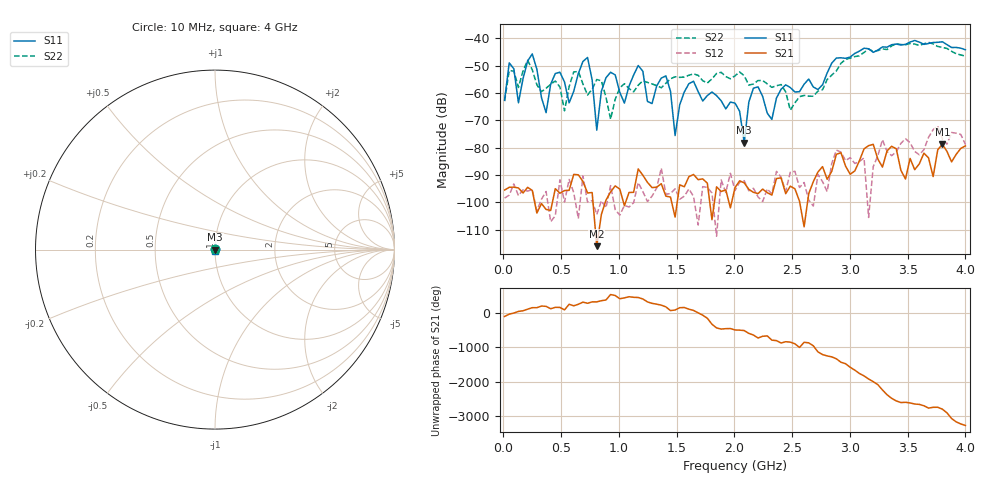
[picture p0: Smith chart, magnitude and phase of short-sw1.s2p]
! PocketVna 1.81  pocketvna.com
! Live measurements ((Reflection-S11, Transmission-S21, Transmission-S12, Reflection-S22) Linear 10000000-4000000000/101 non-calibrated)
# GHz S MA R 50
! GHz  |S11|  <S11  |S21|  <S21  |S12|  <S12  |S22|  <S22
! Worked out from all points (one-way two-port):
!   101 points, 10 MHz to 4 GHz, reference 50 ohm
!   highest |S21| = -78.75 dB at 3.8 GHz (marker M1); lowest = -116.0 dB at 808 MHz (marker M2)
!   lowest |S11| = -78.1 dB at 2.085 GHz (marker M3), VSWR 1.00, Z = 50 + j0.00527 ohm
!   |S11| at or under -10 dB: start of sweep to end of sweep
!   |S22| runs from -69.6 to -41.5 dB; largest |S21 - S12| = 0.00022
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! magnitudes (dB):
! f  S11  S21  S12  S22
! 10 MHz  -62.5  -95.5  -98.4  -63.0
! 49.9 MHz  -49.0  -94.5  -97.3  -51.8
! 129.7 MHz  -63.6  -94.7  -97.5  -58.0
! 209.5 MHz  -48.3  -94.5  -95.9  -48.0
! 369.1 MHz  -67.2  -102.5  -96.0  -58.3
! 688.3 MHz  -48.5  -92.3  -90.3  -56.7
! 808 MHz  -73.6  -116.0  -104.4  -55.1
! 927.7 MHz  -52.4  -96.1  -93.8  -69.6
! 1.047 GHz  -63.7  -101.2  -101.1  -56.6
! 1.167 GHz  -50.0  -87.8  -92.7  -57.1
! 1.247 GHz  -63.1  -92.7  -99.7  -56.1
! 1.367 GHz  -54.6  -93.1  -87.5  -58.1
! 1.486 GHz  -75.5  -105.3  -95.0  -54.1
! 1.606 GHz  -56.6  -90.6  -95.1  -53.5
! 2.005 GHz  -63.7  -94.6  -95.7  -53.7
! 2.085 GHz  -78.1  -92.8  -92.0  -53.7
! 2.165 GHz  -58.2  -96.3  -94.8  -56.7
! 2.324 GHz  -69.7  -97.3  -96.9  -57.9
! 2.683 GHz  -57.8  -92.4  -101.3  -61.2
! 3.362 GHz  -42.4  -79.5  -82.9  -42.8
! 3.8 GHz  -41.3  -78.7  -76.7  -43.4
! 4 GHz  -44.2  -79.3  -78.8  -46.5
